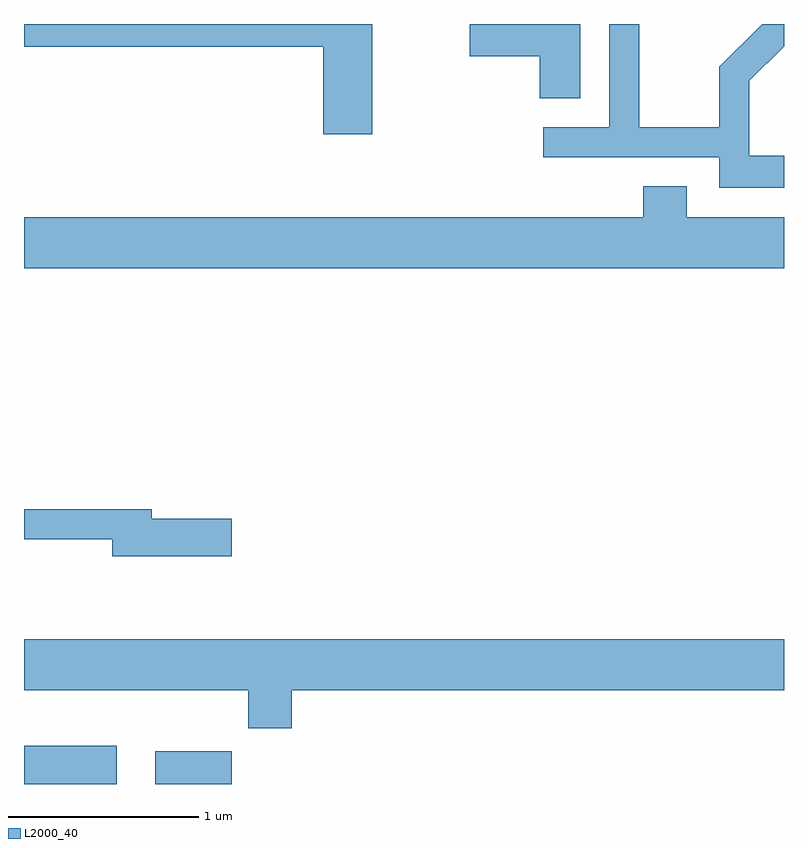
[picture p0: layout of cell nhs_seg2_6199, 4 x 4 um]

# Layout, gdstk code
import gdstk
lib = gdstk.Library(unit=1e-6, precision=1e-09)
def R(c, l, rs):  # rectangles x0, y0, x1, y1
    for r in rs: c.add(gdstk.rectangle(r[:2], r[2:], *l))
def P(c, l, *ps):  # polygons
    for p in ps: c.add(gdstk.Polygon(p, *l))
L2000_40 = (2000, 40)

nhs_seg2_6199 = lib.new_cell('nhs_seg2_6199')
R(nhs_seg2_6199, L2000_40, [(367.611,1067.802,368.099,1068.004), (368.301,1067.802,368.704,1067.974)])
P(nhs_seg2_6199, L2000_40, [(371.611,1071.109),(371.429,1071.109),(371.429,1071.504),(371.611,1071.686),(371.611,1071.802),(371.496,1071.802),(371.271,1071.577),(371.271,1071.259),(370.849,1071.259),(370.849,1071.802),(370.691,1071.802),(370.691,1071.259),(370.343,1071.259),(370.343,1071.101),(371.271,1071.101),(371.271,1070.941),(371.611,1070.941)],
  [(370.539,1071.802),(369.956,1071.802),(369.956,1071.631),(370.326,1071.631),(370.326,1071.411),(370.539,1071.411)],
  [(369.444,1071.802),(367.611,1071.802),(367.611,1071.681),(369.186,1071.681),(369.186,1071.221),(369.444,1071.221)],
  [(371.611,1070.784),(371.099,1070.784),(371.099,1070.949),(370.871,1070.949),(370.871,1070.784),(367.611,1070.784),(367.611,1070.516),(371.611,1070.516)],
  [(368.704,1069.199),(368.284,1069.199),(368.284,1069.249),(367.611,1069.249),(367.611,1069.091),(368.076,1069.091),(368.076,1069.001),(368.704,1069.001)],
  [(369.019,1068.296),(371.611,1068.296),(371.611,1068.564),(367.611,1068.564),(367.611,1068.296),(368.791,1068.296),(368.791,1068.096),(369.019,1068.096)])

lib.write_gds('nhs_seg2_6199.gds')
